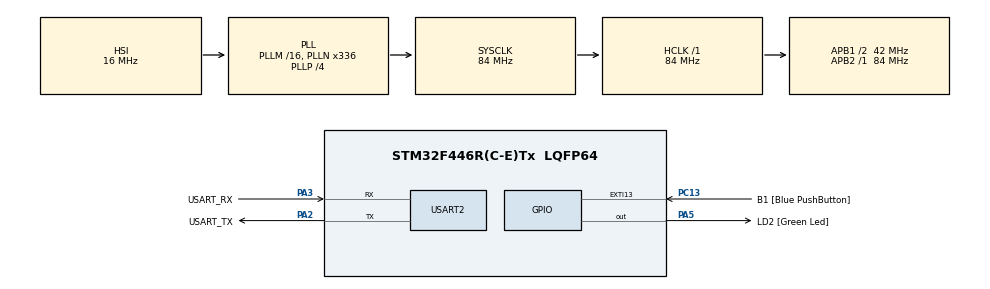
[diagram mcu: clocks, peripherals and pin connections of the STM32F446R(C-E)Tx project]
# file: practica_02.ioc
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Mcu.Family=STM32F4
Mcu.Name=STM32F446R(C-E)Tx
Mcu.Package=LQFP64
NVIC.PriorityGroup=NVIC_PRIORITYGROUP_0
PA13.GPIO_Label=TMS
PA13.Mode=Serial_Wire
PA13.Signal=SYS_JTMS-SWDIO
PA14.GPIO_Label=TCK
PA14.Mode=Serial_Wire
PA14.Signal=SYS_JTCK-SWCLK
PA2.GPIO_Label=USART_TX
PA2.Mode=Asynchronous
PA2.Signal=USART2_TX
PA3.GPIO_Label=USART_RX
PA3.Mode=Asynchronous
PA3.Signal=USART2_RX
PA5.GPIO_Label=LD2 [Green Led]
PA5.Signal=GPIO_Output
PB3.GPIO_Label=SWO
PB3.Signal=SYS_JTDO-SWO
PC13.GPIO_Label=B1 [Blue PushButton]
PC13.GPIO_ModeDefaultEXTI=GPIO_MODE_IT_FALLING
PC13.Signal=GPXTI13
PC14-OSC32_IN.Mode=LSE-External-Oscillator
PC14-OSC32_IN.Signal=RCC_OSC32_IN
PC15-OSC32_OUT.Mode=LSE-External-Oscillator
PC15-OSC32_OUT.Signal=RCC_OSC32_OUT
PH0-OSC_IN.Mode=HSE-External-Oscillator
PH0-OSC_IN.Signal=RCC_OSC_IN
PH1-OSC_OUT.Mode=HSE-External-Oscillator
PH1-OSC_OUT.Signal=RCC_OSC_OUT
ProjectManager.HeapSize=0x200
ProjectManager.StackSize=0x400
ProjectManager.TargetToolchain=STM32CubeIDE
RCC.48MHZClocksFreq_Value=84000000
RCC.AHBFreq_Value=84000000
RCC.APB1CLKDivider=RCC_HCLK_DIV2
RCC.APB1Freq_Value=42000000
RCC.APB1TimFreq_Value=84000000
RCC.APB2Freq_Value=84000000
RCC.APB2TimFreq_Value=84000000
RCC.CortexFreq_Value=84000000
RCC.FLatency-AdvancedSettings=FLASH_LATENCY_2
RCC.HCLKFreq_Value=84000000
RCC.HSE_VALUE=8000000
RCC.HSI_VALUE=16000000
RCC.PLLN=336
RCC.PLLP=RCC_PLLP_DIV4
RCC.SYSCLKFreq_VALUE=84000000
RCC.SYSCLKSource=RCC_SYSCLKSOURCE_PLLCLK
RCC.USBFreq_Value=168000000
RCC.VCOOutputFreq_Value=336000000
USART2.VirtualMode=VM_ASYNC
board=NUCLEO-F446RE

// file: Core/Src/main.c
/* USER CODE BEGIN Header */
/**
  ******************************************************************************
  * @file           : main.c
  * @brief          : Main program body
  ******************************************************************************
  * @attention
  *
  * Copyright (c) 2025 STMicroelectronics.
  * All rights reserved.
  *
  * This software is licensed under terms that can be found in the LICENSE file
  * in the root directory of this software component.
  * If no LICENSE file comes with this software, it is provided AS-IS.
  *
  ******************************************************************************
  */
/* USER CODE END Header */
#include "main.h"

/* USER CODE BEGIN Includes */
#include "API_delay.h"
#include "stdio.h"
/* USER CODE END Includes */

UART_HandleTypeDef huart2;

void SystemClock_Config(void);
static void MX_GPIO_Init(void);
static void MX_USART2_UART_Init(void);

int main(void)
{

	/* USER CODE BEGIN 1 */
	// Defino variables para el retardo del led
	delay_t delayTime;
	const tick_t ledDuration[] = {500, 100, 100 , 1000};

	/* USER CODE END 1 */

	/* MCU Configuration--------------------------------------------------------*/

	/* Reset of all peripherals, Initializes the Flash interface and the Systick. */
	HAL_Init();

	/* Configure the system clock */
	SystemClock_Config();

	/* Initialize all configured peripherals */
	MX_GPIO_Init();
	MX_USART2_UART_Init();

	/* USER CODE BEGIN 2 */
	//Configuro el retardo del led en 100ms
	delayInit( &delayTime, ledDuration[0] );
	/* USER CODE END 2 */

	/* Infinite loop */
	/* USER CODE BEGIN WHILE */
	while (1)
	{
		for( uint8_t i = 0; i < sizeof(ledDuration) / sizeof(ledDuration[0]); i++ ){ // patrones de parpadeo
			if( !delayIsRunning( &delayTime) )
				delayWrite(&delayTime, ledDuration[i] ); //Configura el tiempo de parpadeo DC = 50%
			else {
				printf("ERROR: delayIsRunning() activo cuando no debería.\n");
				while(1);
			}

			uint8_t j = 0;
			while( j < 2 ){ // 1 ciclo 50% DC
				if( delayRead( &delayTime ) ){
					HAL_GPIO_TogglePin(LD2_GPIO_Port, LD2_Pin); //Toggle Led
					j++;
				}
			}
		}
		/* USER CODE END WHILE */

	}
}

void SystemClock_Config(void)
{
	RCC_OscInitTypeDef RCC_OscInitStruct = {0};
	RCC_ClkInitTypeDef RCC_ClkInitStruct = {0};

	/** Configure the main internal regulator output voltage
	 */
	__HAL_RCC_PWR_CLK_ENABLE();
	__HAL_PWR_VOLTAGESCALING_CONFIG(PWR_REGULATOR_VOLTAGE_SCALE3);

	/** Initializes the RCC Oscillators according to the specified parameters
	 * in the RCC_OscInitTypeDef structure.
	 */
	RCC_OscInitStruct.OscillatorType = RCC_OSCILLATORTYPE_HSI;
	RCC_OscInitStruct.HSIState = RCC_HSI_ON;
	RCC_OscInitStruct.HSICalibrationValue = RCC_HSICALIBRATION_DEFAULT;
	RCC_OscInitStruct.PLL.PLLState = RCC_PLL_ON;
	RCC_OscInitStruct.PLL.PLLSource = RCC_PLLSOURCE_HSI;
	RCC_OscInitStruct.PLL.PLLM = 16;
	RCC_OscInitStruct.PLL.PLLN = 336;
	RCC_OscInitStruct.PLL.PLLP = RCC_PLLP_DIV4;
	RCC_OscInitStruct.PLL.PLLQ = 2;
	RCC_OscInitStruct.PLL.PLLR = 2;
	if (HAL_RCC_OscConfig(&RCC_OscInitStruct) != HAL_OK)
	{
		Error_Handler();
	}

	/** Initializes the CPU, AHB and APB buses clocks
	 */
	RCC_ClkInitStruct.ClockType = RCC_CLOCKTYPE_HCLK|RCC_CLOCKTYPE_SYSCLK
			|RCC_CLOCKTYPE_PCLK1|RCC_CLOCKTYPE_PCLK2;
	RCC_ClkInitStruct.SYSCLKSource = RCC_SYSCLKSOURCE_PLLCLK;
	RCC_ClkInitStruct.AHBCLKDivider = RCC_SYSCLK_DIV1;
	RCC_ClkInitStruct.APB1CLKDivider = RCC_HCLK_DIV2;
	RCC_ClkInitStruct.APB2CLKDivider = RCC_HCLK_DIV1;

	if (HAL_RCC_ClockConfig(&RCC_ClkInitStruct, FLASH_LATENCY_2) != HAL_OK)
	{
		Error_Handler();
	}
}

static void MX_USART2_UART_Init(void)
{

	huart2.Instance = USART2;
	huart2.Init.BaudRate = 115200;
	huart2.Init.WordLength = UART_WORDLENGTH_8B;
	huart2.Init.StopBits = UART_STOPBITS_1;
	huart2.Init.Parity = UART_PARITY_NONE;
	huart2.Init.Mode = UART_MODE_TX_RX;
	huart2.Init.HwFlowCtl = UART_HWCONTROL_NONE;
	huart2.Init.OverSampling = UART_OVERSAMPLING_16;
	if (HAL_UART_Init(&huart2) != HAL_OK)
	{
		Error_Handler();
	}

}

static void MX_GPIO_Init(void)
{
	GPIO_InitTypeDef GPIO_InitStruct = {0};

	/* GPIO Ports Clock Enable */
	__HAL_RCC_GPIOC_CLK_ENABLE();
	__HAL_RCC_GPIOH_CLK_ENABLE();
	__HAL_RCC_GPIOA_CLK_ENABLE();
	__HAL_RCC_GPIOB_CLK_ENABLE();

	/*Configure GPIO pin Output Level */
	HAL_GPIO_WritePin(LD2_GPIO_Port, LD2_Pin, GPIO_PIN_RESET);

	/*Configure GPIO pin : B1_Pin */
	GPIO_InitStruct.Pin = B1_Pin;
	GPIO_InitStruct.Mode = GPIO_MODE_IT_FALLING;
	GPIO_InitStruct.Pull = GPIO_NOPULL;
	HAL_GPIO_Init(B1_GPIO_Port, &GPIO_InitStruct);

	/*Configure GPIO pin : LD2_Pin */
	GPIO_InitStruct.Pin = LD2_Pin;
	GPIO_InitStruct.Mode = GPIO_MODE_OUTPUT_PP;
	GPIO_InitStruct.Pull = GPIO_NOPULL;
	GPIO_InitStruct.Speed = GPIO_SPEED_FREQ_LOW;
	HAL_GPIO_Init(LD2_GPIO_Port, &GPIO_InitStruct);

}

void Error_Handler(void)
{
	__disable_irq();
	while (1)
	{
	}
}
